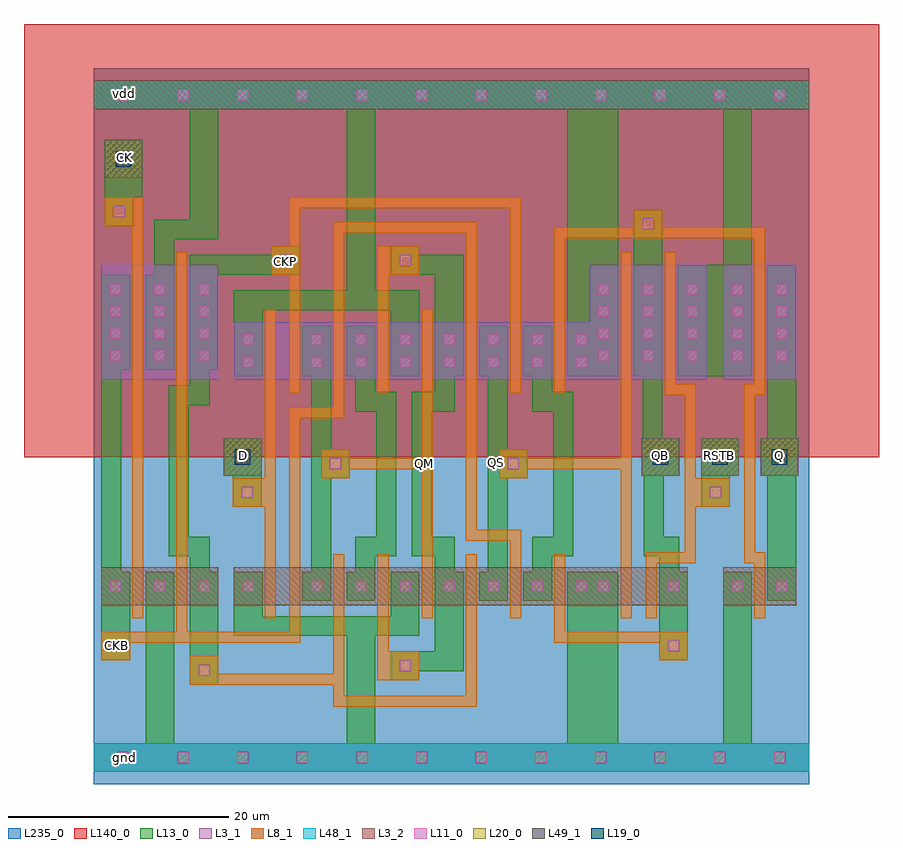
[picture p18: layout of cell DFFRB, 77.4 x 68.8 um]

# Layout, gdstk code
import gdstk
lib = gdstk.Library(unit=1e-6, precision=1e-09)
def R(c, l, rs):  # rectangles x0, y0, x1, y1
    for r in rs: c.add(gdstk.rectangle(r[:2], r[2:], *l))
def A(c, l, x, y, w, h, nx, ny, dx, dy):  # array of equal rectangles
    R(c, l, [(x+i*dx, y+j*dy, x+i*dx+w, y+j*dy+h) for i in range(nx) for j in range(ny)])
def P(c, l, *ps):  # polygons
    for p in ps: c.add(gdstk.Polygon(p, *l))
L3_1 = (3, 1)
L3_2 = (3, 2)
L8_1 = (8, 1)
L11_0 = (11, 0)
L13_0 = (13, 0)
L19_0 = (19, 0)
L20_0 = (20, 0)
L48_1 = (48, 1)
L49_1 = (49, 1)
L140_0 = (140, 0)
L235_0 = (235, 0)

dffrb = lib.new_cell('DFFRB')
R(dffrb, L3_1, [(0,1.1,39,3.7), (39,1.1,64.8,3.7), (0.7,36.6,11.3,47), (12.7,36.6,39,41.8), (57,36.6,63.6,47)])
P(dffrb, L3_1, [(39,36.6),(39,41.8),(44.9,41.8),(44.9,47),(55.5,47),(55.5,36.6)])
R(dffrb, L3_2, [(0.7,16.2,11.3,19.6), (12.7,16.2,39,19.6), (39,16.2,53.8,19.6), (57,16.2,63.6,19.6), (0,61.1,39,63.7), (39,61.1,64.8,63.7)])
R(dffrb, L8_1, [(8.7,9,11.3,11.6), (26.9,9.4,29.5,12), (0.7,11.2,3.3,13.8), (3.5,15,4.5,53.1), (20.6,27.7,23.2,30.3), (36.7,27.7,39,30.3), (16.1,46.1,18.7,48.7), (26.9,46.1,29.5,48.7), (1,50.5,3.6,53.1)])
P(dffrb, L8_1, [(47.7,15),(47.7,28.5),(39.3,28.5),(39.3,27.7),(39,27.7),(39,30.3),(39.3,30.3),(39.3,29.5),(47.7,29.5),(47.7,48.2),(48.7,48.2),(48.7,15)],
  [(17.7,35.4),(17.7,52.1),(17.7,53.1),(38.7,53.1),(38.7,35.4),(37.7,35.4),(37.7,52.1),(18.7,52.1),(18.7,35.4)],
  [(51.2,11.2),(51.2,12.8),(41.7,12.8),(41.7,20.8),(42.7,20.8),(42.7,13.8),(53.8,13.8),(53.8,11.2)],
  [(50,15),(50,21),(53.5,21),(53.5,35.2),(51.7,35.2),(51.7,48.2),(52.7,48.2),(52.7,36.2),(54.5,36.2),(54.5,27.7),(57.6,27.7),(57.6,25.1),(54.5,25.1),(54.5,20),(51,20),(51,15)],
  [(59.8,15),(59.8,20),(58.9,20),(58.9,36.2),(59.8,36.2),(59.8,49.4),(42.7,49.4),(42.7,35.4),(41.7,35.4),(41.7,50.4),(48.9,50.4),(48.9,52),(51.5,52),(51.5,50.4),(60.8,50.4),(60.8,35.2),(59.9,35.2),(59.9,21),(60.8,21),(60.8,15)],
  [(3.3,12.8),(3.3,13.8),(7.5,13.8),(7.5,48.2),(8.5,48.2),(8.5,13.8),(17.7,13.8),(17.7,34.1),(21.7,34.1),(21.7,50.9),(34.7,50.9),(34.7,23),(38.7,23),(38.7,15),(37.7,15),(37.7,22),(33.7,22),(33.7,49.9),(22.7,49.9),(22.7,33.1),(18.7,33.1),(18.7,12.8)],
  [(25.7,35.4),(25.7,48.7),(26.9,48.7),(26.9,46.1),(26.7,46.1),(26.7,35.4)],
  [(29.7,15),(29.7,28.5),(23.2,28.5),(23.2,29.5),(29.7,29.5),(29.7,43),(30.7,43),(30.7,15)],
  [(15.5,15),(15.5,25.1),(12.6,25.1),(12.6,27.7),(15.5,27.7),(15.5,43),(16.5,43),(16.5,15)],
  [(21.7,7),(21.7,9),(11.3,9),(11.3,10),(21.7,10),(21.7,20.8),(22.7,20.8),(22.7,8),(33.7,8),(33.7,20.8),(34.7,20.8),(34.7,7)],
  [(25.7,9.4),(25.7,20.8),(26.7,20.8),(26.7,12),(26.9,12),(26.9,9.4)])
A(dffrb, L11_0, 2.2, 1.9, 1, 1, 12, 2, 5.4, 60)
A(dffrb, L11_0, 1.5, 17.4, 1, 1, 4, 1, 4, 0)
A(dffrb, L11_0, 1.5, 38.3, 1, 1, 3, 4, 4, 2)
A(dffrb, L11_0, 45.7, 40.3, 1, 1, 1, 3, 0, 2)
R(dffrb, L11_0, [(9.5,9.8,10.5,10.8), (27.7,10.2,28.7,11.2), (1.5,12,2.5,13), (52,12,53,13), (19.7,17.4,20.7,18.4), (19.7,17.4,20.7,18.4), (23.7,17.4,24.7,18.4), (23.7,17.4,24.7,18.4), (27.7,17.4,28.7,18.4), (27.7,17.4,28.7,18.4), (27.7,17.4,28.7,18.4), (27.7,17.4,28.7,18.4), (31.7,17.4,32.7,18.4), (31.7,17.4,32.7,18.4), (35.7,17.4,36.7,18.4), (35.7,17.4,36.7,18.4), (35.7,17.4,36.7,18.4), (35.7,17.4,36.7,18.4), (39.7,17.4,40.7,18.4), (39.7,17.4,40.7,18.4), (43.7,17.4,44.7,18.4), (45.7,17.4,46.7,18.4), (45.7,17.4,46.7,18.4), (45.7,17.4,46.7,18.4), (45.7,17.4,46.7,18.4), (45.7,17.4,46.7,18.4), (45.7,17.4,46.7,18.4), (52,17.4,53,18.4), (57.8,17.4,58.8,18.4), (57.8,17.4,58.8,18.4), (61.8,17.4,62.8,18.4), (13.4,25.9,14.4,26.9), (55.8,25.9,56.8,26.9), (21.4,28.5,22.4,29.5), (37.5,28.5,38.5,29.5), (13.5,37.7,14.5,38.7), (19.7,37.7,20.7,38.7), (19.7,37.7,20.7,38.7), (23.7,37.7,24.7,38.7), (23.7,37.7,24.7,38.7), (27.7,37.7,28.7,38.7), (27.7,37.7,28.7,38.7), (27.7,37.7,28.7,38.7), (27.7,37.7,28.7,38.7), (31.7,37.7,32.7,38.7), (31.7,37.7,32.7,38.7), (35.7,37.7,36.7,38.7), (35.7,37.7,36.7,38.7), (35.7,37.7,36.7,38.7), (35.7,37.7,36.7,38.7), (39.7,37.7,40.7,38.7), (39.7,37.7,40.7,38.7), (43.7,37.7,44.7,38.7), (45.7,38.3,46.7,39.3), (45.7,38.3,46.7,39.3), (45.7,38.3,46.7,39.3), (45.7,38.3,46.7,39.3), (45.7,38.3,46.7,39.3), (49.7,38.3,50.7,39.3), (49.7,38.3,50.7,39.3), (49.7,38.3,50.7,39.3), (53.7,38.3,54.7,39.3), (53.7,38.3,54.7,39.3), (53.7,38.3,54.7,39.3), (57.8,38.3,58.8,39.3), (57.8,38.3,58.8,39.3), (61.8,38.3,62.8,39.3), (61.8,38.3,62.8,39.3), (13.5,39.7,14.5,40.7), (19.7,39.7,20.7,40.7), (19.7,39.7,20.7,40.7), (23.7,39.7,24.7,40.7), (23.7,39.7,24.7,40.7), (27.7,39.7,28.7,40.7), (27.7,39.7,28.7,40.7), (27.7,39.7,28.7,40.7), (27.7,39.7,28.7,40.7), (31.7,39.7,32.7,40.7), (31.7,39.7,32.7,40.7), (35.7,39.7,36.7,40.7), (35.7,39.7,36.7,40.7), (35.7,39.7,36.7,40.7), (35.7,39.7,36.7,40.7), (39.7,39.7,40.7,40.7), (39.7,39.7,40.7,40.7), (43.7,39.7,44.7,40.7), (45.7,40.3,46.7,41.3), (45.7,40.3,46.7,41.3), (45.7,40.3,46.7,41.3), (45.7,40.3,46.7,41.3), (45.7,40.3,46.7,41.3), (49.7,40.3,50.7,41.3), (49.7,40.3,50.7,41.3), (49.7,40.3,50.7,41.3), (53.7,40.3,54.7,41.3), (53.7,40.3,54.7,41.3), (53.7,40.3,54.7,41.3), (57.8,40.3,58.8,41.3), (57.8,40.3,58.8,41.3), (61.8,40.3,62.8,41.3), (61.8,40.3,62.8,41.3), (49.7,42.3,50.7,43.3), (49.7,42.3,50.7,43.3), (49.7,42.3,50.7,43.3), (53.7,42.3,54.7,43.3), (53.7,42.3,54.7,43.3), (53.7,42.3,54.7,43.3), (57.8,42.3,58.8,43.3), (57.8,42.3,58.8,43.3), (57.8,42.3,58.8,43.3), (57.8,42.3,58.8,43.3), (61.8,42.3,62.8,43.3), (61.8,42.3,62.8,43.3), (49.7,44.3,50.7,45.3), (49.7,44.3,50.7,45.3), (49.7,44.3,50.7,45.3), (53.7,44.3,54.7,45.3), (53.7,44.3,54.7,45.3), (53.7,44.3,54.7,45.3), (57.8,44.3,58.8,45.3), (57.8,44.3,58.8,45.3), (57.8,44.3,58.8,45.3), (57.8,44.3,58.8,45.3), (61.8,44.3,62.8,45.3), (61.8,44.3,62.8,45.3), (16.9,46.9,17.9,47.9), (27.7,46.9,28.7,47.9), (49.7,50.2,50.7,51.2), (1.8,51.3,2.8,52.3)])
R(dffrb, L13_0, [(0,1.1,39,3.7), (39,1.1,64.8,3.7), (4.7,3.7,7.3,19.2), (42.9,3.7,47.5,19.2), (57,3.7,59.6,19.2), (8.7,9,11.3,11.6), (26.9,9.4,29.5,12), (0.7,11.2,3.3,13.8), (38.9,16.6,39,19.2), (12.6,25.1,15.2,27.9), (20.6,27.7,23.2,30.3), (36.7,27.7,39,30.3), (39,27.7,39.3,30.3), (11.8,27.9,15.2,31.3), (38.9,36.9,39,41.5), (42.9,36.9,47.5,61.1), (52.9,36.9,57,47), (57,36.9,59.6,61.1), (0.7,37.5,3.3,46.1), (4.7,37.5,7.3,46.1), (5.5,46.1,7.3,51.1), (11.3,46.1,16.1,47.9), (16.1,46.1,18.7,48.7), (26.9,46.1,29.5,48.7), (7.3,49.3,11.3,51.1), (1,50.5,3.6,53.1), (8.7,51.1,11.3,61.1), (1,53.1,4.4,58.3), (1,54.9,4.4,58.3), (0,61.1,39,63.7), (39,61.1,64.8,63.7)])
P(dffrb, L13_0, [(39,16.6),(39,19.2),(39.7,19.2),(39.7,22.4),(41.6,22.4),(41.6,33.7),(39.7,33.7),(39.7,36.9),(39,36.9),(39,41.5),(41.5,41.5),(41.5,35.5),(43.4,35.5),(43.4,20.6),(41.5,20.6),(41.5,16.6)],
  [(8.7,9),(8.7,20.6),(6.8,20.6),(6.8,36.1),(8.7,36.1),(8.7,47.9),(11.3,47.9),(11.3,37.5),(10.5,37.5),(10.5,34.3),(8.6,34.3),(8.6,22.4),(10.5,22.4),(10.5,19.2),(11.3,19.2),(11.3,9)],
  [(34.9,16.6),(34.9,19.2),(35.7,19.2),(35.7,36.9),(34.9,36.9),(34.9,41.5),(37.5,41.5),(37.5,16.6)],
  [(51.2,11.2),(51.2,20.6),(49.8,20.6),(49.8,27.9),(49.6,27.9),(49.6,31.3),(49.7,31.3),(49.7,36.9),(48.9,36.9),(48.9,52),(51.5,52),(51.5,31.3),(53,31.3),(53,27.9),(51.6,27.9),(51.6,22.4),(53,22.4),(53,19.2),(53.8,19.2),(53.8,11.2)],
  [(22.9,3.7),(22.9,13.4),(12.7,13.4),(12.7,19.2),(15.3,19.2),(15.3,15.2),(26.9,15.2),(26.9,19.2),(29.5,19.2),(29.5,13.4),(25.5,13.4),(25.5,3.7)],
  [(12.7,36.9),(12.7,44.7),(22.9,44.7),(22.9,61.1),(25.5,61.1),(25.5,44.7),(29.5,44.7),(29.5,36.9),(26.9,36.9),(26.9,42.9),(15.3,42.9),(15.3,36.9)],
  [(29.5,10.2),(29.5,12),(30.9,12),(30.9,20.6),(28.8,20.6),(28.8,35.5),(30.9,35.5),(30.9,46.1),(29.5,46.1),(29.5,47.9),(33.5,47.9),(33.5,36.9),(32.7,36.9),(32.7,33.7),(30.6,33.7),(30.6,22.4),(32.7,22.4),(32.7,19.2),(33.5,19.2),(33.5,10.2)],
  [(22.9,16.6),(22.9,19.2),(23.7,19.2),(23.7,22.4),(25.6,22.4),(25.6,33.7),(23.7,33.7),(23.7,36.9),(22.9,36.9),(22.9,41.5),(25.5,41.5),(25.5,35.5),(27.4,35.5),(27.4,20.6),(25.5,20.6),(25.5,16.6)],
  [(18.9,16.6),(18.9,19.2),(19.7,19.2),(19.7,36.9),(18.9,36.9),(18.9,41.5),(21.5,41.5),(21.5,16.6)],
  [(0.7,13.8),(0.7,37.5),(2.5,37.5),(2.5,19.2),(3.3,19.2),(3.3,13.8)],
  [(55,25.1),(55,31.3),(58.4,31.3),(58.4,27.9),(57.6,27.9),(57.6,25.1)],
  [(61,16.6),(61,27.9),(60.4,27.9),(60.4,31.3),(61,31.3),(61,47),(63.6,47),(63.6,31.3),(63.8,31.3),(63.8,27.9),(63.6,27.9),(63.6,16.6)])
A(dffrb, L19_0, 50.6, 28.9, 1.4, 1.4, 3, 1, 5.4, 0)
R(dffrb, L19_0, [(12.8,28.9,14.2,30.3), (50.6,28.9,52,30.3), (2,55.9,3.4,57.3)])
A(dffrb, L20_0, 49.6, 27.9, 3.4, 3.4, 3, 1, 5.4, 0)
R(dffrb, L20_0, [(11.8,27.9,15.2,31.3), (49.6,27.9,53,31.3), (1,54.9,4.4,58.3)])
R(dffrb, L48_1, [(0,1.1,39,3.7), (0,1.1,64.8,3.7), (0,61.1,39,63.7), (0,61.1,64.8,63.7)])
A(dffrb, L49_1, 49.6, 27.9, 3.4, 3.4, 3, 1, 5.4, 0)
R(dffrb, L49_1, [(11.8,27.9,15.2,31.3), (49.6,27.9,53,31.3), (1,54.9,4.4,58.3)])
R(dffrb, L140_0, [(-6.3,29.6,71.1,68.8)])
R(dffrb, L235_0, [(0,0,64.8,64.8)])
dffrb.add(gdstk.Label('RSTB', (56.7,29.7), layer=49, texttype=0))
dffrb.add(gdstk.Label('D', (13.6,29.7), layer=49, texttype=0))
dffrb.add(gdstk.Label('CK', (2.8,56.7), layer=49, texttype=0))
dffrb.add(gdstk.Label('QB', (51.3,29.7), layer=49, texttype=0))
dffrb.add(gdstk.Label('QB', (51.3,29.7), layer=49, texttype=0))
dffrb.add(gdstk.Label('Q', (62.1,29.7), layer=49, texttype=0))
dffrb.add(gdstk.Label('vdd', (2.8,62.5), layer=48, texttype=0))
dffrb.add(gdstk.Label('gnd', (2.8,2.4), layer=48, texttype=0))
dffrb.add(gdstk.Label('QS', (36.5,29.1), layer=48, texttype=0))
dffrb.add(gdstk.Label('QM', (30,29), layer=48, texttype=0))
dffrb.add(gdstk.Label('CKB', (2.1,12.5), layer=48, texttype=0))
dffrb.add(gdstk.Label('CKP', (17.4,47.3), layer=48, texttype=0))
dffrb.add(gdstk.Label('gnd', (2.7,2.4), layer=48, texttype=0))
dffrb.add(gdstk.Label('vdd', (2.7,62.5), layer=48, texttype=0))

lib.write_gds('DFFRB.gds')
